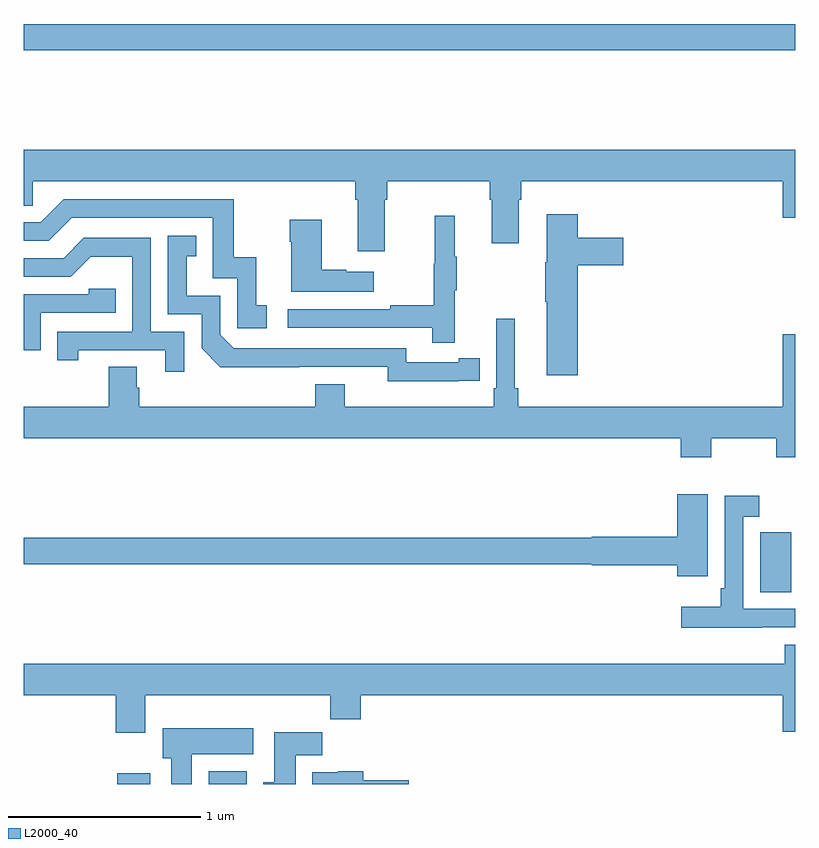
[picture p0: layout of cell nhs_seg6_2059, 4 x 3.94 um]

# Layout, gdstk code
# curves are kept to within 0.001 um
import gdstk
lib = gdstk.Library(unit=1e-6, precision=1e-09)
def R(c, l, rs):  # rectangles x0, y0, x1, y1
    for r in rs: c.add(gdstk.rectangle(r[:2], r[2:], *l))
def P(c, l, *ps):  # polygons
    for p in ps: c.add(gdstk.Polygon(p, *l))
L2000_40 = (2000, 40)

nhs_seg6_2059 = lib.new_cell('nhs_seg6_2059')
R(nhs_seg6_2059, L2000_40, [(233.486,989.5,233.656,989.557), (233.96,989.5,234.157,989.566), (236.819,990.493,236.98,990.804), (233,993.304,237,993.44)])
P(nhs_seg6_2059, L2000_40, [(233,992.497),(233.046,992.497),(233.046,992.624),(234.719,992.624),(234.719,992.528),(234.731,992.528),(234.731,992.262),(234.871,992.262),(234.871,992.528),(234.884,992.528),(234.884,992.624),(235.415,992.624),(235.415,992.528),(235.427,992.528),(235.427,992.304),(235.567,992.304),(235.567,992.528),(235.58,992.528),(235.58,992.624),(236.936,992.624),(236.936,992.436),(237,992.436),(237,992.788),(233,992.788)],
  [(234.259,991.983),(234.206,991.983),(234.206,992.23),(234.088,992.23),(234.088,992.532),(233.208,992.532),(233.088,992.412),(233,992.412),(233,992.316),(233.13,992.316),(233.25,992.436),(233.979,992.436),(233.979,992.121),(234.108,992.121),(234.108,991.863),(234.259,991.863)],
  [(235.871,992.189),(236.107,992.189),(236.107,992.331),(235.871,992.331),(235.871,992.455),(235.712,992.455),(235.712,992.205),(235.705,992.205),(235.705,991.999),(235.712,991.999),(235.712,991.62),(235.871,991.62)],
  [(235.235,992.059),(235.246,992.059),(235.246,992.233),(235.235,992.233),(235.235,992.446),(235.132,992.446),(235.132,992.196),(235.125,992.196),(235.125,991.982),(234.901,991.982),(234.901,991.962),(234.369,991.962),(234.369,991.866),(235.117,991.866),(235.117,991.788),(235.235,991.788)],
  [(234.814,992.155),(234.671,992.155),(234.671,992.165),(234.544,992.165),(234.544,992.425),(234.379,992.425),(234.379,992.312),(234.386,992.312),(234.386,992.051),(234.814,992.051)],
  [(235.256,991.59),(235.364,991.59),(235.364,991.706),(235.256,991.706),(235.256,991.686),(234.984,991.686),(234.984,991.758),(234.09,991.758),(234.018,991.83),(234.018,992.031),(233.845,992.031),(233.845,992.235),(233.894,992.235),(233.894,992.341),(233.748,992.341),(233.748,991.935),(233.922,991.935),(233.922,991.758),(234.02,991.661),(234.888,991.662),(234.888,991.589)],
  [(233.832,991.845),(233.658,991.845),(233.658,992.331),(233.312,992.331),(233.207,992.226),(233,992.226),(233,992.13),(233.244,992.13),(233.348,992.234),(233.562,992.234),(233.562,991.845),(233.173,991.845),(233.173,991.698),(233.284,991.698),(233.284,991.749),(233.735,991.749),(233.735,991.638),(233.832,991.638)],
  [(233.088,991.944),(233.477,991.944),(233.477,992.067),(233.337,992.067),(233.337,992.04),(233,992.04),(233,991.749),(233.088,991.749)],
  [(236.565,991.292),(236.902,991.292),(236.902,991.193),(237,991.193),(237,991.831),(236.936,991.831),(236.936,991.456),(235.565,991.456),(235.565,991.552),(235.546,991.552),(235.546,991.912),(235.449,991.912),(235.449,991.552),(235.436,991.552),(235.436,991.456),(234.664,991.456),(234.664,991.573),(234.512,991.573),(234.512,991.456),(233.6,991.456),(233.6,991.554),(233.587,991.554),(233.587,991.664),(233.44,991.664),(233.44,991.456),(233,991.456),(233,991.292),(236.405,991.292),(236.405,991.193),(236.565,991.193)],
  [(236.545,991.003),(236.387,991.003),(236.387,990.782),(235.944,990.782),(235.944,990.776),(233,990.776),(233,990.64),(235.944,990.64),(235.944,990.635),(236.387,990.635),(236.387,990.576),(236.545,990.576)],
  [(236.827,990.312),(237,990.312),(237,990.408),(236.73,990.408),(236.73,990.885),(236.812,990.885),(236.812,990.994),(236.634,990.994),(236.634,990.514),(236.614,990.514),(236.614,990.418),(236.409,990.418),(236.409,990.311),(236.827,990.311)],
  [(233.629,989.96),(234.589,989.96),(234.589,989.836),(234.746,989.836),(234.746,989.96),(236.936,989.96),(236.936,989.772),(237,989.772),(237,990.223),(236.945,990.223),(236.945,990.124),(233,990.124),(233,989.96),(233.477,989.96),(233.477,989.766),(233.629,989.766)],
  [(233.872,989.654),(234.19,989.654),(234.19,989.788),(233.72,989.788),(233.72,989.634),(233.765,989.634),(233.765,989.5),(233.872,989.5)],
  [(234.409,989.648),(234.548,989.648),(234.548,989.767),(234.299,989.767),(234.299,989.508),(234.242,989.508),(234.242,989.5),(234.409,989.5)],
  [(234.997,989.52),(234.761,989.52),(234.761,989.566),(234.63,989.566),(234.63,989.56),(234.497,989.56),(234.497,989.5),(234.997,989.5)])

lib.write_gds('nhs_seg6_2059.gds')
